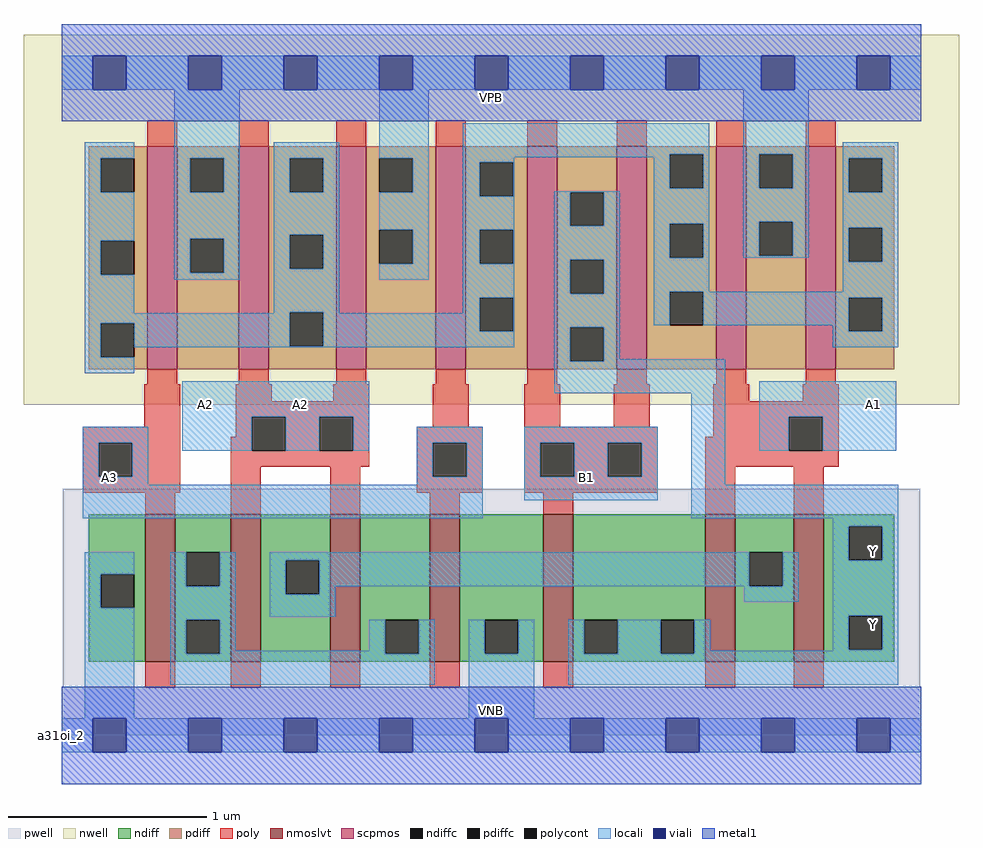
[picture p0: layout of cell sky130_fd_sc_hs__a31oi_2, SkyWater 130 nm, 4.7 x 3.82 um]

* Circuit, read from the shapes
.subckt sky130_fd_sc_hs__a31oi_2 A1 A2 A3 B1 VGND VNB VPB VPWR Y
XM1 n1 A3 VGND VNB sky130_fd_pr__nfet_01v8_lvt w=0.74 l=0.15 m=2
XM2 n2 A2 n1 VNB sky130_fd_pr__nfet_01v8_lvt w=0.74 l=0.15 m=2
XM3 Y B1 VGND VNB sky130_fd_pr__nfet_01v8_lvt w=0.74 l=0.15
XM4 n2 A1 Y VNB sky130_fd_pr__nfet_01v8_lvt w=0.74 l=0.15 m=2
XM5 VPWR A3 n3 VPB sky130_fd_pr__pfet_01v8 w=1.12 l=0.15 m=2
XM6 n3 A2 VPWR VPB sky130_fd_pr__pfet_01v8 w=1.12 l=0.15 m=2
XM7 Y B1 n3 VPB sky130_fd_pr__pfet_01v8 w=1.12 l=0.15 m=2
XM8 VPWR A1 n3 VPB sky130_fd_pr__pfet_01v8 w=1.12 l=0.15 m=2
.ends

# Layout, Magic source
magic
tech sky130A
magscale 1 2
<< nwell >>
rect -38 332 902 704
<< pwell >>
rect 1 49 863 248
rect 0 0 864 49
<< scpmos >>
rect 86 368 116 592
rect 178 368 208 592
rect 276 368 306 592
rect 376 368 406 592
rect 468 368 498 592
rect 558 368 588 592
rect 658 368 688 592
rect 748 368 778 592
<< nmoslvt >>
rect 84 74 114 222
rect 170 74 200 222
rect 270 74 300 222
rect 370 74 400 222
rect 484 74 514 222
rect 647 74 677 222
rect 736 74 766 222
<< ndiff >>
rect 27 162 84 222
rect 27 128 39 162
rect 73 128 84 162
rect 27 74 84 128
rect 114 184 170 222
rect 114 150 125 184
rect 159 150 170 184
rect 114 116 170 150
rect 114 82 125 116
rect 159 82 170 116
rect 114 74 170 82
rect 200 176 270 222
rect 200 142 225 176
rect 259 142 270 176
rect 200 74 270 142
rect 300 116 370 222
rect 300 82 325 116
rect 359 82 370 116
rect 300 74 370 82
rect 400 116 484 222
rect 400 82 425 116
rect 459 82 484 116
rect 400 74 484 82
rect 514 116 647 222
rect 514 82 525 116
rect 559 82 602 116
rect 636 82 647 116
rect 514 74 647 82
rect 677 184 736 222
rect 677 150 691 184
rect 725 150 736 184
rect 677 74 736 150
rect 766 210 837 222
rect 766 176 791 210
rect 825 176 837 210
rect 766 120 837 176
rect 766 86 791 120
rect 825 86 837 120
rect 766 74 837 86
<< pdiff >>
rect 27 580 86 592
rect 27 546 39 580
rect 73 546 86 580
rect 27 497 86 546
rect 27 463 39 497
rect 73 463 86 497
rect 27 414 86 463
rect 27 380 39 414
rect 73 380 86 414
rect 27 368 86 380
rect 116 580 178 592
rect 116 546 129 580
rect 163 546 178 580
rect 116 499 178 546
rect 116 465 129 499
rect 163 465 178 499
rect 116 368 178 465
rect 208 580 276 592
rect 208 546 229 580
rect 263 546 276 580
rect 208 503 276 546
rect 208 469 229 503
rect 263 469 276 503
rect 208 425 276 469
rect 208 391 229 425
rect 263 391 276 425
rect 208 368 276 391
rect 306 580 376 592
rect 306 546 319 580
rect 353 546 376 580
rect 306 508 376 546
rect 306 474 319 508
rect 353 474 376 508
rect 306 368 376 474
rect 406 576 468 592
rect 406 542 420 576
rect 454 542 468 576
rect 406 508 468 542
rect 406 474 420 508
rect 454 474 468 508
rect 406 440 468 474
rect 406 406 420 440
rect 454 406 468 440
rect 406 368 468 406
rect 498 546 558 592
rect 498 512 511 546
rect 545 512 558 546
rect 498 478 558 512
rect 498 444 511 478
rect 545 444 558 478
rect 498 410 558 444
rect 498 376 511 410
rect 545 376 558 410
rect 498 368 558 376
rect 588 584 658 592
rect 588 550 611 584
rect 645 550 658 584
rect 588 514 658 550
rect 588 480 611 514
rect 645 480 658 514
rect 588 446 658 480
rect 588 412 611 446
rect 645 412 658 446
rect 588 368 658 412
rect 688 584 748 592
rect 688 550 701 584
rect 735 550 748 584
rect 688 516 748 550
rect 688 482 701 516
rect 735 482 748 516
rect 688 368 748 482
rect 778 580 837 592
rect 778 546 791 580
rect 825 546 837 580
rect 778 510 837 546
rect 778 476 791 510
rect 825 476 837 510
rect 778 440 837 476
rect 778 406 791 440
rect 825 406 837 440
rect 778 368 837 406
<< ndiffc >>
rect 39 128 73 162
rect 125 150 159 184
rect 125 82 159 116
rect 225 142 259 176
rect 325 82 359 116
rect 425 82 459 116
rect 525 82 559 116
rect 602 82 636 116
rect 691 150 725 184
rect 791 176 825 210
rect 791 86 825 120
<< pdiffc >>
rect 39 546 73 580
rect 39 463 73 497
rect 39 380 73 414
rect 129 546 163 580
rect 129 465 163 499
rect 229 546 263 580
rect 229 469 263 503
rect 229 391 263 425
rect 319 546 353 580
rect 319 474 353 508
rect 420 542 454 576
rect 420 474 454 508
rect 420 406 454 440
rect 511 512 545 546
rect 511 444 545 478
rect 511 376 545 410
rect 611 550 645 584
rect 611 480 645 514
rect 611 412 645 446
rect 701 550 735 584
rect 701 482 735 516
rect 791 546 825 580
rect 791 476 825 510
rect 791 406 825 440
<< poly >>
rect 86 592 116 618
rect 178 592 208 618
rect 276 592 306 618
rect 376 592 406 618
rect 468 592 498 618
rect 558 592 588 618
rect 658 592 688 618
rect 748 592 778 618
rect 86 353 116 368
rect 178 353 208 368
rect 276 353 306 368
rect 376 353 406 368
rect 468 353 498 368
rect 558 353 588 368
rect 658 353 688 368
rect 748 353 778 368
rect 83 310 119 353
rect 21 294 119 310
rect 175 336 211 353
rect 273 336 309 353
rect 175 320 309 336
rect 175 300 191 320
rect 21 260 37 294
rect 71 260 119 294
rect 21 244 119 260
rect 170 286 191 300
rect 225 286 259 320
rect 293 286 309 320
rect 373 310 409 353
rect 465 310 501 353
rect 555 310 591 353
rect 655 336 691 353
rect 745 336 781 353
rect 655 320 781 336
rect 170 270 309 286
rect 357 294 423 310
rect 84 222 114 244
rect 170 222 200 270
rect 270 222 300 270
rect 357 260 373 294
rect 407 260 423 294
rect 357 244 423 260
rect 465 294 599 310
rect 655 300 731 320
rect 465 260 481 294
rect 515 260 549 294
rect 583 260 599 294
rect 465 244 599 260
rect 647 286 731 300
rect 765 286 781 320
rect 647 270 781 286
rect 370 222 400 244
rect 484 222 514 244
rect 647 222 677 270
rect 736 222 766 270
rect 84 48 114 74
rect 170 48 200 74
rect 270 48 300 74
rect 370 48 400 74
rect 484 48 514 74
rect 647 48 677 74
rect 736 48 766 74
<< polycont >>
rect 37 260 71 294
rect 191 286 225 320
rect 259 286 293 320
rect 373 260 407 294
rect 481 260 515 294
rect 549 260 583 294
rect 731 286 765 320
<< locali >>
rect 0 649 31 683
rect 65 649 127 683
rect 161 649 223 683
rect 257 649 319 683
rect 353 649 415 683
rect 449 649 511 683
rect 545 649 607 683
rect 641 649 703 683
rect 737 649 799 683
rect 833 649 864 683
rect 23 580 73 596
rect 23 546 39 580
rect 23 497 73 546
rect 23 463 39 497
rect 23 424 73 463
rect 113 580 179 649
rect 113 546 129 580
rect 163 546 179 580
rect 113 499 179 546
rect 113 465 129 499
rect 163 465 179 499
rect 113 458 179 465
rect 213 580 279 596
rect 213 546 229 580
rect 263 546 279 580
rect 213 503 279 546
rect 213 469 229 503
rect 263 469 279 503
rect 213 425 279 469
rect 319 580 369 649
rect 353 546 369 580
rect 319 508 369 546
rect 353 474 369 508
rect 319 458 369 474
rect 403 584 651 615
rect 403 581 611 584
rect 403 576 455 581
rect 403 542 420 576
rect 454 542 455 576
rect 595 550 611 581
rect 645 550 651 584
rect 403 508 455 542
rect 403 474 420 508
rect 454 474 455 508
rect 213 424 229 425
rect 23 414 229 424
rect 23 380 39 414
rect 73 391 229 414
rect 263 424 279 425
rect 403 440 455 474
rect 403 424 420 440
rect 263 406 420 424
rect 454 406 455 440
rect 263 391 455 406
rect 73 390 455 391
rect 495 546 561 547
rect 495 512 511 546
rect 545 512 561 546
rect 495 478 561 512
rect 495 444 511 478
rect 545 444 561 478
rect 495 410 561 444
rect 595 514 651 550
rect 595 480 611 514
rect 645 480 651 514
rect 685 584 751 649
rect 685 550 701 584
rect 735 550 751 584
rect 685 516 751 550
rect 685 482 701 516
rect 735 482 751 516
rect 685 480 751 482
rect 785 580 841 596
rect 785 546 791 580
rect 825 546 841 580
rect 785 510 841 546
rect 595 446 651 480
rect 785 476 791 510
rect 825 476 841 510
rect 785 446 841 476
rect 595 412 611 446
rect 645 440 841 446
rect 645 412 791 440
rect 23 364 73 380
rect 495 376 511 410
rect 545 378 561 410
rect 775 406 791 412
rect 825 406 841 440
rect 775 390 841 406
rect 545 376 667 378
rect 121 320 309 356
rect 495 344 667 376
rect 21 294 87 310
rect 21 260 37 294
rect 71 260 87 294
rect 121 286 191 320
rect 225 286 259 320
rect 293 286 309 320
rect 357 294 423 310
rect 21 252 87 260
rect 357 260 373 294
rect 407 260 423 294
rect 357 252 423 260
rect 21 218 423 252
rect 465 294 599 310
rect 465 260 481 294
rect 515 260 549 294
rect 583 260 599 294
rect 465 236 599 260
rect 633 252 667 344
rect 701 320 839 356
rect 701 286 731 320
rect 765 286 839 320
rect 633 218 841 252
rect 775 210 841 218
rect 23 162 73 184
rect 23 128 39 162
rect 23 17 73 128
rect 109 150 125 184
rect 159 150 175 184
rect 109 116 175 150
rect 209 176 691 184
rect 209 142 225 176
rect 259 150 691 176
rect 725 150 741 184
rect 259 142 275 150
rect 209 119 275 142
rect 686 134 741 150
rect 775 176 791 210
rect 825 176 841 210
rect 775 120 841 176
rect 109 82 125 116
rect 159 85 175 116
rect 309 85 325 116
rect 159 82 325 85
rect 359 82 375 116
rect 109 51 375 82
rect 409 82 425 116
rect 459 82 475 116
rect 409 17 475 82
rect 509 82 525 116
rect 559 82 602 116
rect 636 85 652 116
rect 775 86 791 120
rect 825 86 841 120
rect 775 85 841 86
rect 636 82 841 85
rect 509 51 841 82
rect 0 -17 31 17
rect 65 -17 127 17
rect 161 -17 223 17
rect 257 -17 319 17
rect 353 -17 415 17
rect 449 -17 511 17
rect 545 -17 607 17
rect 641 -17 703 17
rect 737 -17 799 17
rect 833 -17 864 17
<< viali >>
rect 31 649 65 683
rect 127 649 161 683
rect 223 649 257 683
rect 319 649 353 683
rect 415 649 449 683
rect 511 649 545 683
rect 607 649 641 683
rect 703 649 737 683
rect 799 649 833 683
rect 31 -17 65 17
rect 127 -17 161 17
rect 223 -17 257 17
rect 319 -17 353 17
rect 415 -17 449 17
rect 511 -17 545 17
rect 607 -17 641 17
rect 703 -17 737 17
rect 799 -17 833 17
<< metal1 >>
rect 0 683 864 715
rect 0 649 31 683
rect 65 649 127 683
rect 161 649 223 683
rect 257 649 319 683
rect 353 649 415 683
rect 449 649 511 683
rect 545 649 607 683
rect 641 649 703 683
rect 737 649 799 683
rect 833 649 864 683
rect 0 617 864 649
rect 0 17 864 49
rect 0 -17 31 17
rect 65 -17 127 17
rect 161 -17 223 17
rect 257 -17 319 17
rect 353 -17 415 17
rect 449 -17 511 17
rect 545 -17 607 17
rect 641 -17 703 17
rect 737 -17 799 17
rect 833 -17 864 17
rect 0 -49 864 -17
<< labels >>
rlabel comment s 0 0 0 0 4 a31oi_2
flabel pwell s 0 0 864 49 0 FreeSans 200 0 0 0 VNB
port 6 nsew ground bidirectional
flabel nwell s 0 617 864 666 0 FreeSans 200 0 0 0 VPB
port 7 nsew power bidirectional
flabel metal1 s 0 617 864 666 0 FreeSans 340 0 0 0 VPWR
port 8 nsew power bidirectional
flabel metal1 s 0 0 864 49 0 FreeSans 340 0 0 0 VGND
port 5 nsew ground bidirectional
flabel locali s 127 316 161 350 0 FreeSans 340 0 0 0 A2
port 2 nsew signal input
flabel locali s 223 316 257 350 0 FreeSans 340 0 0 0 A2
port 2 nsew signal input
flabel locali s 799 316 833 350 0 FreeSans 340 0 0 0 A1
port 1 nsew signal input
flabel locali s 31 242 65 276 0 FreeSans 340 0 0 0 A3
port 3 nsew signal input
flabel locali s 799 94 833 128 0 FreeSans 340 0 0 0 Y
port 9 nsew signal output
flabel locali s 799 168 833 202 0 FreeSans 340 0 0 0 Y
port 9 nsew signal output
flabel locali s 511 242 545 276 0 FreeSans 340 0 0 0 B1
port 4 nsew signal input
<< properties >>
string LEFsite unit
string LEFclass CORE
string FIXED_BBOX 0 0 864 666
string GDS_FILE $PDKPATH/libs.ref/sky130_fd_sc_hs/gds/sky130_fd_sc_hs.gds
string LEFsymmetry X Y
string GDS_END 1382400
string GDS_START 1374160
<< end >>
